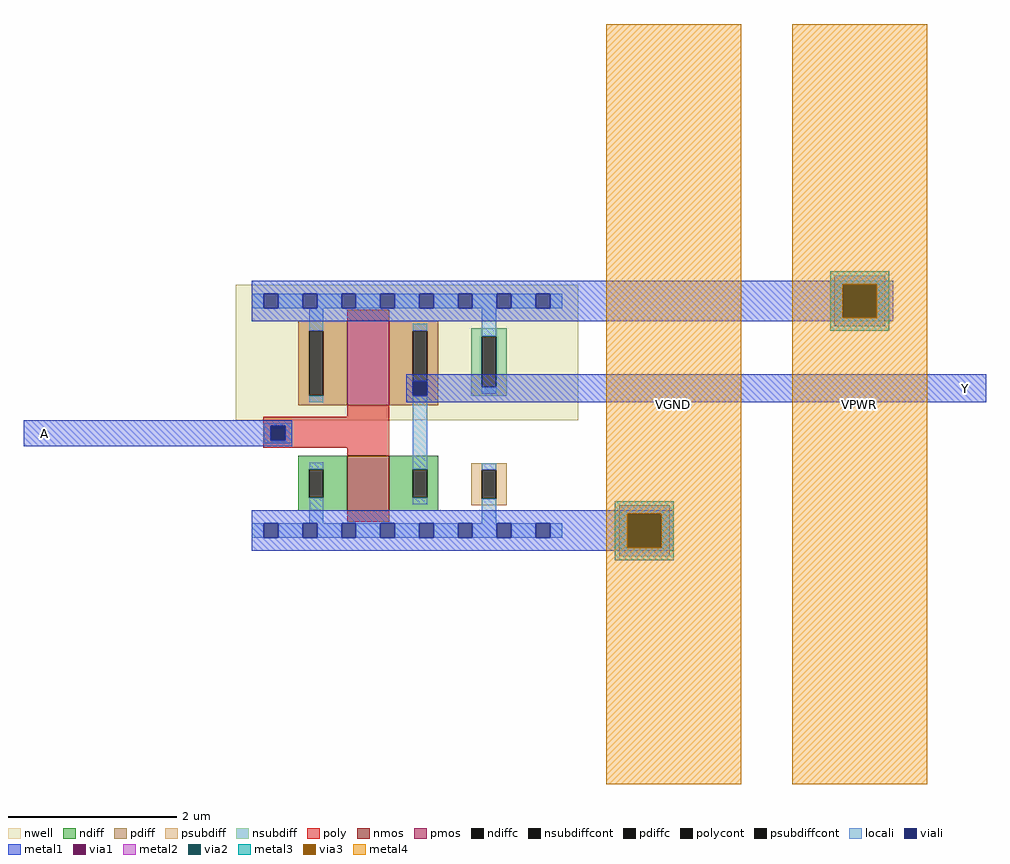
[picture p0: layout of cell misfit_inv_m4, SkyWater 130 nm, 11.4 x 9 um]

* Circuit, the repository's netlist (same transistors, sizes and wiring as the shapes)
* NGSPICE file created from misfit_inv_m4.ext - technology: sky130A

.subckt misfit_inv_m4 A Y VGND VPWR
X0 Y A VPWR VPWR sky130_fd_pr__pfet_01v8 ad=0.58 pd=3.16 as=0.58 ps=3.16 w=1 l=0.5
X1 Y A VGND VGND sky130_fd_pr__nfet_01v8 ad=0.377 pd=2.46 as=0.377 ps=2.46 w=0.65 l=0.5
.ends

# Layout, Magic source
magic
tech sky130A
magscale 1 2
<< nwell >>
rect 562 861 1374 1182
<< nmos >>
rect 826 647 926 777
<< pmos >>
rect 826 897 926 1097
<< ndiff >>
rect 710 746 826 777
rect 710 678 736 746
rect 770 678 826 746
rect 710 647 826 678
rect 926 746 1042 777
rect 926 678 982 746
rect 1016 678 1042 746
rect 926 647 1042 678
<< pdiff >>
rect 710 1074 826 1097
rect 710 920 736 1074
rect 770 920 826 1074
rect 710 897 826 920
rect 926 1074 1042 1097
rect 926 920 982 1074
rect 1016 920 1042 1074
rect 926 897 1042 920
<< ndiffc >>
rect 736 678 770 746
rect 982 678 1016 746
<< pdiffc >>
rect 736 920 770 1074
rect 982 920 1016 1074
<< psubdiff >>
rect 1120 744 1204 760
rect 1120 676 1145 744
rect 1179 676 1204 744
rect 1120 660 1204 676
<< nsubdiff >>
rect 1120 1060 1204 1080
rect 1120 940 1145 1060
rect 1179 940 1204 1060
rect 1120 920 1204 940
<< psubdiffcont >>
rect 1145 676 1179 744
<< nsubdiffcont >>
rect 1145 940 1179 1060
<< poly >>
rect 826 1097 926 1123
rect 826 870 926 897
rect 628 846 926 870
rect 628 812 645 846
rect 679 812 926 846
rect 628 796 926 812
rect 826 777 926 796
rect 826 621 926 647
<< polycont >>
rect 645 812 679 846
<< locali >>
rect 600 1127 629 1161
rect 663 1127 721 1161
rect 755 1127 813 1161
rect 847 1127 905 1161
rect 939 1127 997 1161
rect 1031 1127 1089 1161
rect 1123 1127 1181 1161
rect 1215 1127 1273 1161
rect 1307 1127 1336 1161
rect 736 1074 770 1127
rect 736 904 770 920
rect 982 1074 1016 1090
rect 1145 1060 1179 1127
rect 1145 924 1179 940
rect 629 848 695 855
rect 629 812 645 848
rect 679 812 695 848
rect 629 807 695 812
rect 736 746 770 762
rect 736 617 770 678
rect 982 746 1016 920
rect 982 662 1016 678
rect 1145 744 1179 760
rect 1145 617 1179 676
rect 600 583 629 617
rect 663 583 721 617
rect 755 583 813 617
rect 847 583 905 617
rect 939 583 997 617
rect 1031 583 1089 617
rect 1123 583 1181 617
rect 1215 583 1273 617
rect 1307 583 1336 617
<< viali >>
rect 629 1127 663 1161
rect 721 1127 755 1161
rect 813 1127 847 1161
rect 905 1127 939 1161
rect 997 1127 1031 1161
rect 1089 1127 1123 1161
rect 1181 1127 1215 1161
rect 1273 1127 1307 1161
rect 982 920 1016 954
rect 645 846 679 848
rect 645 814 679 846
rect 629 583 663 617
rect 721 583 755 617
rect 813 583 847 617
rect 905 583 939 617
rect 997 583 1031 617
rect 1089 583 1123 617
rect 1181 583 1215 617
rect 1273 583 1307 617
<< metal1 >>
rect 600 1184 2120 1192
rect 600 1161 2000 1184
rect 600 1127 629 1161
rect 663 1127 721 1161
rect 755 1127 813 1161
rect 847 1127 905 1161
rect 939 1127 997 1161
rect 1031 1127 1089 1161
rect 1123 1127 1181 1161
rect 1215 1127 1273 1161
rect 1307 1127 2000 1161
rect 600 1104 2000 1127
rect 2080 1104 2120 1184
rect 600 1096 2120 1104
rect 966 954 2340 970
rect 966 920 982 954
rect 1016 920 2340 954
rect 966 904 2340 920
rect 60 848 696 862
rect 60 814 645 848
rect 679 814 696 848
rect 60 800 696 814
rect 600 640 1600 648
rect 600 617 1490 640
rect 600 583 629 617
rect 663 583 721 617
rect 755 583 813 617
rect 847 583 905 617
rect 939 583 997 617
rect 1031 583 1089 617
rect 1123 583 1181 617
rect 1215 583 1273 617
rect 1307 583 1490 617
rect 600 560 1490 583
rect 1570 560 1600 640
rect 600 552 1600 560
<< via1 >>
rect 2000 1104 2080 1184
rect 1490 560 1570 640
<< metal2 >>
rect 1980 1184 2100 1204
rect 1980 1104 2000 1184
rect 2080 1104 2100 1184
rect 1980 1084 2100 1104
rect 1470 640 1590 660
rect 1470 560 1490 640
rect 1570 560 1590 640
rect 1470 540 1590 560
<< via2 >>
rect 2000 1104 2080 1184
rect 1490 560 1570 640
<< metal3 >>
rect 1970 1184 2110 1214
rect 1970 1104 2000 1184
rect 2080 1104 2110 1184
rect 1970 1074 2110 1104
rect 1460 640 1600 670
rect 1460 560 1490 640
rect 1570 560 1600 640
rect 1460 530 1600 560
<< via3 >>
rect 2000 1104 2080 1184
rect 1490 560 1570 640
<< metal4 >>
rect 1440 640 1760 1800
rect 1440 560 1490 640
rect 1570 560 1760 640
rect 1440 0 1760 560
rect 1880 1184 2200 1800
rect 1880 1104 2000 1184
rect 2080 1104 2200 1184
rect 1880 0 2200 1104
<< labels >>
flabel metal1 60 800 160 862 0 FreeSans 320 0 0 0 A
port 1 nsew
flabel metal1 2240 904 2340 970 0 FreeSans 320 0 0 0 Y
port 2 nsew
flabel metal4 1440 0 1760 1800 0 FreeSans 320 0 0 0 VGND
port 3 nsew
flabel metal4 1880 0 2200 1800 0 FreeSans 320 0 0 0 VPWR
port 4 nsew
<< properties >>
string FIXED_BBOX 0 0 2400 1800
<< end >>
